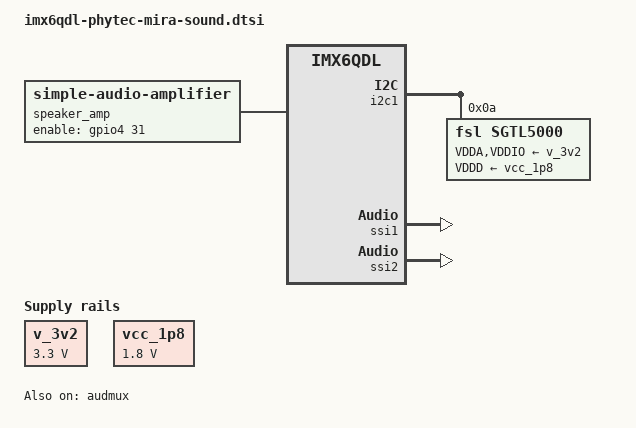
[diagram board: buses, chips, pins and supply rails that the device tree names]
// SPDX-License-Identifier: (GPL-2.0+ OR MIT)
/*
 * Author: Petko Manolov <petko.manolov@konsulko.com>
 */

#include <dt-bindings/sound/fsl-imx-audmux.h>

/ {
	v_3v2: regulator-v-3v2 {
		compatible = "regulator-fixed";
		regulator-always-on;
		regulator-max-microvolt = <3300000>;
		regulator-min-microvolt = <3300000>;
		regulator-name = "v_3v2";
	};

	vcc_1p8: regulator-vcc-1p8 {
		compatible = "regulator-fixed";
		regulator-always-on;
		regulator-max-microvolt = <1800000>;
		regulator-min-microvolt = <1800000>;
		regulator-name = "vcc_1p8";
	};



	audio: sound-sgtl5000 {
		compatible = "simple-audio-card";
		// simple-audio-card,aux-devs = <&speaker_amp>;
		simple-audio-card,name = "On-board Codec";
		simple-audio-card,format = "i2s";
		simple-audio-card,bitclock-master = <&sound_codec>;
		simple-audio-card,frame-master = <&sound_codec>;
		simple-audio-card,widgets =
			"Microphone", "Mic Jack",
			"Headphone", "Headphone Jack";
		simple-audio-card,routing =
			"MIC_IN", "Mic Jack",
			"Mic Jack", "Mic Bias",
			"Headphone Jack", "HP_OUT";

		sound_cpu: simple-audio-card,cpu {
			sound-dai = <&ssi1>;
		};

		sound_codec: simple-audio-card,codec {
			sound-dai = <&sgtl5000>;
		};
	};

	speaker_amp: audio-amplifier {
		compatible = "simple-audio-amplifier";
		pinctrl-names = "default";
		pinctrl-0 = <&pinctrl_amp>;
		enable-gpios = <&gpio4 31 GPIO_ACTIVE_HIGH>;
		sound-name-prefix = "Speaker Amp";
	};
};

&audmux {
	status = "okay";

	ssi1 {
		fsl,audmux-port = <0>;
		fsl,port-config = <
			(IMX_AUDMUX_V2_PTCR_SYN |
			 IMX_AUDMUX_V2_PTCR_TFSEL(4) |
			 IMX_AUDMUX_V2_PTCR_TCSEL(4) |
			 IMX_AUDMUX_V2_PTCR_TFSDIR |
			 IMX_AUDMUX_V2_PTCR_TCLKDIR)
			 IMX_AUDMUX_V2_PDCR_RXDSEL(4)
		>;
	};

	ssi2 {
		fsl,audmux-port = <1>;
		fsl,port-config = <
			(IMX_AUDMUX_V2_PTCR_TFSDIR |
			IMX_AUDMUX_V2_PTCR_TFSEL(4) |
			IMX_AUDMUX_V2_PTCR_TCLKDIR |
			IMX_AUDMUX_V2_PTCR_TCSEL(4))
			IMX_AUDMUX_V2_PDCR_RXDSEL(4)
		>;
	};

	pins5 {
		fsl,audmux-port = <4>;
		fsl,port-config = <
			// 0x00000000
			// IMX_AUDMUX_V2_PDCR_RXDSEL(1)
			IMX_AUDMUX_V2_PTCR_SYN
			IMX_AUDMUX_V2_PDCR_RXDSEL(0)
		>;
	};
};

&i2c1 {
	sgtl5000: codec@a {
		compatible = "fsl,sgtl5000";
		#sound-dai-cells = <0>;
		pinctrl-names = "default";
		pinctrl-0 = <&pinctrl_sgtl5000>;
		clocks = <&clks IMX6QDL_CLK_CKO>;
		// clocks = <&clks IMX6QDL_CLK_CKO1>;
		reg = <0x0a>;
		VDDA-supply = <&v_3v2>;
		VDDD-supply = <&vcc_1p8>;
		VDDIO-supply = <&v_3v2>;
	};
};

&iomuxc {
	pinctrl_sgtl5000: pinctrl-sgtl5000 {
		fsl,pins = <
			MX6QDL_PAD_KEY_COL0__AUD5_TXC	0x130b0
			MX6QDL_PAD_KEY_ROW0__AUD5_TXD	0x110b0
			MX6QDL_PAD_KEY_COL1__AUD5_TXFS	0x130b0
			MX6QDL_PAD_KEY_ROW1__AUD5_RXD	0x130b0
			MX6QDL_PAD_GPIO_0__CCM_CLKO1	0x130b0
		>;
	};

	pinctrl_amp: pinctrl-amp {
		fsl,pins = <
			MX6QDL_PAD_CSI0_DAT13__GPIO5_IO31	0x1b0b0
		>;
	};
};

&ssi1 {
	status = "okay";
};

&ssi2 {
	status = "okay";
};
